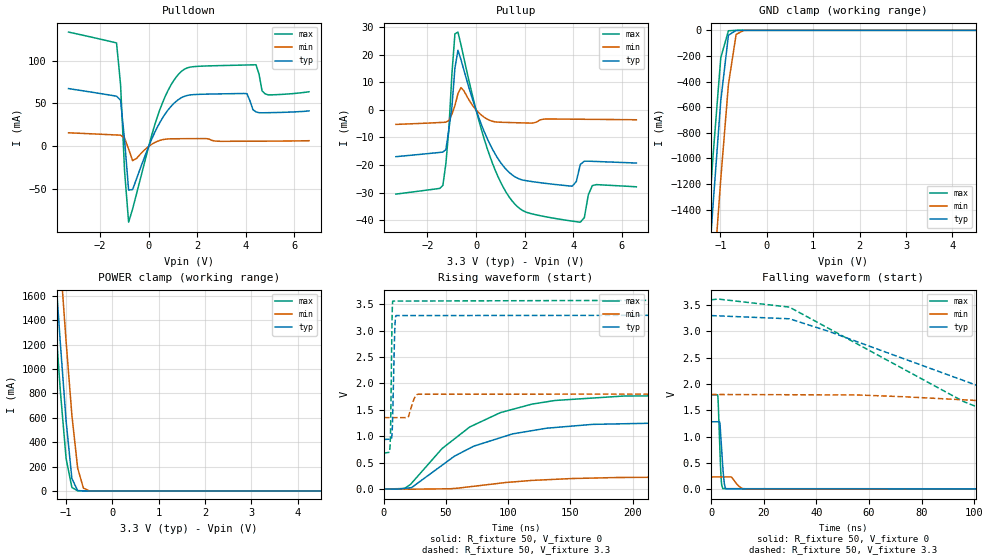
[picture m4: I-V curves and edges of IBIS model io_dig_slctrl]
| [Disclaimer] Property of Microchip technology Incorporated.
| Unauthorized reproduction and/or distribution is strictly
| restricted.  All rights reserved.
| The model provided is not warranted as fully representing
| all of the operating characteristics and specifications
| of all the semiconductor products related to the model.
| Microchip does not assume any liability for the proper
| functioning of these IBIS models in your design or for
| any resulting application.
| Microchip does not assume any liability for infringement
| of patents, copyrights or intellectual property rights
| resulting from your use of these IBIS models.
| Microchip reserves the right to make changes without notice
| to these IBIS models to improve reliability, function, or
| design.
| Please be aware that your receipt and use of the IBIS
| information provided shall serve as acceptance of these
| terms and conditions.  If you do not accept these terms,
| you should return or destroy the IBIS model and any other
| accompanying information immediately.
| From PIC18F1xQ20_ssop20_LV.ibs, PIC18F1xQ20, MICROCHIP TECHNOLOGY Inc.
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[Model] io_dig_slctrl
Model_type I/O
Vinl  =  0.8
Vinh  =  2
| Capacitance   typ   min   max
C_comp   2.464740719258078e-12   2.445583740154839e-12   2.628676855462747e-12
[Model Spec]
| Subparameter   typ   min   max
Vinl   1.5   0.81   1.65
Vinh   3.6   1.89   3.85
Vmeas   2.5   1.35   2.75
| Variables   typ   min   max
[GND Clamp Reference]   0   0   0
[POWER Clamp Reference]   3.3   1.8   3.6
[Pulldown Reference]   0   0   0
[Pullup Reference]   3.3   1.8   3.6
[Temperature Range]   25   125   -40
[Voltage Range]   3.3   1.8   3.6
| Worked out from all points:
|   slope of the pulldown table from 0 to 0.495 V, typ, clamps not added: 16.7 ohm
|   slope of the pullup table from 0 to 0.495 V, typ, clamps not added: 44.9 ohm
|   GND clamp passes 1 mA (typ) near -0.66 V on its own axis
|   POWER clamp passes 1 mA (typ) near -0.65 V on its own axis
|   falling waveform, R_fixture 50, V_fixture 0: 20-80 % time 1.04ns typ, 2.36ns min, 800ps max; typ from 1.28 V to 0 V
|   falling waveform, R_fixture 50, V_fixture 3.3: 20-80 % time 93.5ns typ, 138ns min, 70.2ns max; typ from 3.3 V to 0.941 V
|   rising waveform, R_fixture 50, V_fixture 0: 20-80 % time 65.2ns typ, 69.6ns min, 61ns max; typ from 0 V to 1.28 V
|   rising waveform, R_fixture 50, V_fixture 3.3: 20-80 % time 1.42ns typ, 3.73ns min, 949ps max; typ from 0.938 V to 3.3 V
[GND Clamp]
| Voltage   I(typ)   I(min)   I(max)
-3.3V     -12.47A    -12.75A    -12.31A
-1.324V   -2.22A     -2.823A    -1.847A
-1.159V   -1.362A    -1.991A    -978.2mA
-993.1mV  -550.8mA   -1.163A    -214.5mA
-827.6mV  -37.86mA   -421.1mA   -3.263mA
-662.1mV  -675uA     -31.67mA   -476.4uA
-496.6mV  -18.01uA   -398.5uA   -5.006uA
6.6V      0A         0A         0A
[POWER Clamp]
| Voltage   I(typ)   I(min)   I(max)
-3.3V     13.55A     13.94A     13.32A
-1.366V   2.597A     3.252A     2.198A
-1.241V   1.895A     2.566A     1.492A
-1.117V   1.209A     1.883A     816.6mA
-993.1mV  570.8mA    1.221A     263.8mA
-869mV    101.2mA    621.2mA    28.27mA
-744.8mV  2.919mA    187.3mA    1.345mA
-620.7mV  318.3uA    23.03mA    377.5uA
-496.6mV  24.48uA    978.2uA    41.85uA
6.6V      0A         0A         0A
[Pulldown]
| Voltage   I(typ)   I(min)   I(max)
-3.3V     67.33mA    15.82mA    133.2mA
-1.324V   58.5mA     13.26mA    120.6mA
-1.159V   53.81mA    13.02mA    72mA
-993.1mV  7.061mA    9.55mA     -28.96mA
-827.6mV  -50.96mA   -3.193mA   -88.37mA
-662.1mV  -50.28mA   -16.65mA   -72.87mA
455.2mV   27.65mA    6.927mA    42.53mA
1.366V    57.02mA    8.938mA    87.88mA
4.045V    61.43mA    5.983mA    94.86mA
4.417V    40.16mA    6.021mA    95.11mA
4.79V     39.2mA     6.067mA    61.25mA
6.6V      41.27mA    6.599mA    63.69mA
[Pullup]
| Voltage   I(typ)   I(min)   I(max)
-3.3V     -16.99mA   -5.281mA   -30.57mA
-1.366V   -15.33mA   -4.544mA   -27.42mA
-1.241V   -14.44mA   -4.488mA   -19.52mA
-1.117V   -7.117mA   -3.818mA   -6.793mA
-869mV    15.14mA    1.555mA    27.55mA
-744.8mV  21.61mA    5.889mA    28.2mA
455.2mV   -10.28mA   -3.353mA   -13.86mA
1.707V    -24.8mA    -4.685mA   -35.13mA
3.962V    -27.69mA   -3.387mA   -40.37mA
4.293V    -19.8mA    -3.412mA   -40.75mA
4.79V     -18.68mA   -3.449mA   -27.47mA
6.6V      -19.3mA    -3.603mA   -27.92mA
[Ramp]
dV/dt_r   0.768731/65.2378n  0.139523/69.5923n  1.07614/60.9642n
dV/dt_f   1.41515/93.5168n  0.266582/0.138422u  1.75009/70.1586n
R_load = 50
[Falling Waveform]
R_fixture = 50
V_fixture = 0
V_fixture_min = 0
V_fixture_max = 0
| Time   V(typ)   V(min)   V(max)
0s        1.281V     232.5mV    1.794V
2.465ns   1.282V     232.7mV    1.794V
2.71ns    1.282V     232.8mV    1.612V
3.286ns   1.269V     232.8mV    812.9mV
3.655ns   1.017V     232.8mV    339.2mV
4.442ns   414.6mV    232.9mV    9.096mV
5.023ns   99.16mV    232.9mV    9.087mV
5.679ns   6.247mV    233mV      9.076mV
14.46ns   6.148mV    650.1uV    8.933mV
562.5ns   496nV      765.2nV    404.9nV
[Falling Waveform]
R_fixture = 50
V_fixture = 3.3
V_fixture_min = 1.8
V_fixture_max = 3.6
| Time   V(typ)   V(min)   V(max)
0s        3.3V       1.8V       3.6V
29.75ns   3.239V     1.795V     3.461V
96ns      2.065V     1.698V     1.664V
119.6ns   1.747V     1.637V     1.201V
130ns     1.62V      1.611V     1.071V
157.2ns   1.335V     1.546V     906.3mV
181.9ns   1.187V     1.503V     852.4mV
219ns     1.086V     1.455V     779.3mV
293.1ns   996.9mV    1.403V     728.5mV
562.5ns   941.4mV    1.356V     683.2mV
[Rising Waveform]
R_fixture = 50
V_fixture = 0
V_fixture_min = 0
V_fixture_max = 0
| Time   V(typ)   V(min)   V(max)
0s        -69.34pV   4.478nV    -78.83pV
16.55ns   11.68mV    -2.235mV   8.439mV
21.4ns    23.85mV    -2.89mV    85.45mV
46.84ns   450.2mV    2.857mV    766.5mV
69.07ns   772.8mV    42.57mV    1.176V
93.68ns   971.4mV    110.8mV    1.447V
137.7ns   1.165V     183.3mV    1.678V
193.2ns   1.237V     218.5mV    1.763V
278.9ns   1.277V     229.9mV    1.77V
562.5ns   1.281V     232.5mV    1.794V
[Rising Waveform]
R_fixture = 50
V_fixture = 3.3
V_fixture_min = 1.8
V_fixture_max = 3.6
| Time   V(typ)   V(min)   V(max)
0s        938.2mV    1.353V     681.1mV
5.053ns   944.9mV    1.353V     830.8mV
5.514ns   945.5mV    1.353V     1.252V
6.636ns   1.058V     1.353V     3.25V
7.11ns    1.389V     1.353V     3.562V
8.77ns    2.994V     1.353V     3.562V
9.695ns   3.287V     1.353V     3.562V
19.1ns    3.287V     1.353V     3.562V
27.57ns   3.287V     1.797V     3.563V
562.5ns   3.3V       1.8V       3.6V
